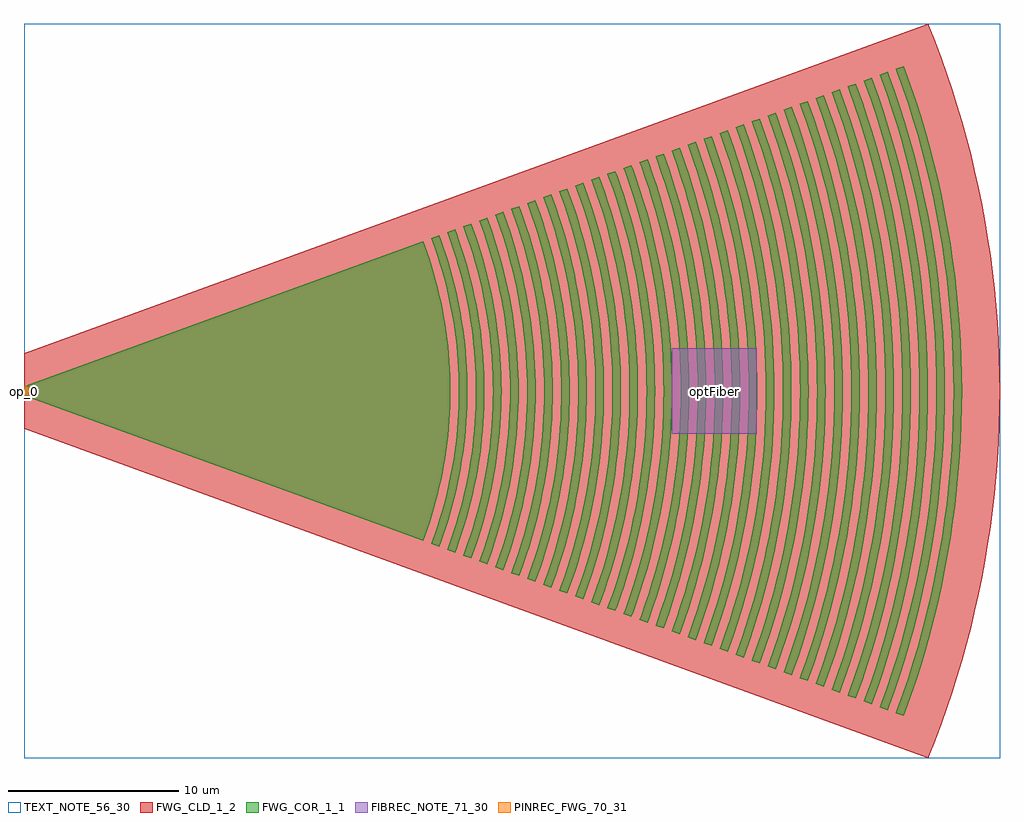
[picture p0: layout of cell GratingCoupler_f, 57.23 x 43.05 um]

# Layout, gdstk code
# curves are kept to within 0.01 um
import gdstk
lib = gdstk.Library(unit=1e-6, precision=1e-09)
def R(c, l, rs):  # rectangles x0, y0, x1, y1
    for r in rs: c.add(gdstk.rectangle(r[:2], r[2:], *l))
def P(c, l, *ps):  # polygons
    for p in ps: c.add(gdstk.Polygon(p, *l))
FWG_COR_1_1 = (1, 1)
FWG_CLD_1_2 = (1, 2)
TEXT_NOTE_56_30 = (56, 30)
PINREC_FWG_70_31 = (70, 31)
FIBREC_NOTE_71_30 = (71, 30)

gratingcoupler_f = lib.new_cell('GratingCoupler_f')
P(gratingcoupler_f, FWG_COR_1_1, [(23.492,68.551),(23.908,67.309),(24.148,66.47),(24.454,65.198),(24.62,64.341),(24.814,63.047),(24.905,62.179),(24.966,61.308),(25,60),(24.966,58.692),(24.905,57.821),(24.814,56.953),(24.62,55.659),(24.454,54.802),(24.148,53.53),(23.776,52.275),(23.402,51.207),(0,59.725),(0,60.275),(23.402,68.793)],
  [(24.432,68.893),(24.864,67.602),(25.114,66.729),(25.334,65.849),(25.605,64.515),(25.747,63.619),(25.901,62.266),(25.984,60.907),(26,60),(25.984,59.093),(25.901,57.734),(25.747,56.381),(25.605,55.485),(25.334,54.151),(25.114,53.271),(24.727,51.966),(24.342,50.865),(23.872,51.036),(24.252,52.12),(24.631,53.4),(24.943,54.698),(25.113,55.572),(25.31,56.892),(25.403,57.778),(25.465,58.665),(25.5,60),(25.465,61.335),(25.403,62.222),(25.31,63.108),(25.113,64.428),(24.943,65.302),(24.631,66.6),(24.252,67.88),(23.872,68.964),(24.342,69.135)],
  [(25.372,69.235),(25.679,68.343),(26.08,66.988),(26.308,66.074),(26.59,64.689),(26.799,63.29),(26.897,62.353),(26.984,60.942),(27,60),(26.984,59.058),(26.897,57.647),(26.799,56.71),(26.59,55.311),(26.308,53.926),(26.08,53.012),(25.679,51.657),(25.281,50.523),(24.811,50.694),(25.203,51.811),(25.597,53.141),(25.921,54.49),(26.097,55.398),(26.242,56.312),(26.399,57.69),(26.464,58.613),(26.5,60),(26.464,61.387),(26.399,62.31),(26.242,63.688),(26.097,64.602),(25.921,65.51),(25.597,66.859),(25.203,68.189),(24.811,69.306),(25.281,69.477)],
  [(26.311,69.577),(26.63,68.652),(27.046,67.247),(27.388,65.822),(27.575,64.862),(27.728,63.897),(27.893,62.44),(27.962,61.465),(28,60),(27.962,58.535),(27.893,57.56),(27.728,56.103),(27.575,55.138),(27.388,54.178),(27.046,52.753),(26.63,51.348),(26.221,50.181),(25.751,50.352),(26.154,51.502),(26.563,52.882),(26.899,54.282),(27.082,55.225),(27.295,56.649),(27.395,57.603),(27.483,59.04),(27.5,60),(27.483,60.96),(27.395,62.397),(27.295,63.351),(27.082,64.775),(26.899,65.718),(26.563,67.118),(26.154,68.498),(25.751,69.648),(26.221,69.819)],
  [(27.251,69.919),(27.581,68.961),(28.012,67.506),(28.257,66.524),(28.559,65.036),(28.718,64.036),(28.89,62.528),(28.96,61.518),(29,60),(28.96,58.482),(28.89,57.472),(28.718,55.964),(28.559,54.964),(28.257,53.476),(28.012,52.494),(27.581,51.039),(27.161,49.839),(26.691,50.01),(27.105,51.193),(27.529,52.624),(27.77,53.589),(28.067,55.051),(28.223,56.034),(28.392,57.516),(28.483,59.005),(28.5,60),(28.483,60.995),(28.392,62.484),(28.288,63.473),(28.067,64.949),(27.77,66.411),(27.529,67.376),(27.105,68.807),(26.691,69.99),(27.161,70.161)],
  [(28.191,70.261),(28.532,69.271),(28.978,67.765),(29.231,66.749),(29.544,65.209),(29.708,64.175),(29.886,62.615),(29.982,61.047),(30,60),(29.982,58.953),(29.886,57.385),(29.708,55.825),(29.544,54.791),(29.231,53.251),(28.978,52.235),(28.532,50.729),(28.1,49.497),(27.63,49.668),(28.056,50.884),(28.495,52.365),(28.744,53.364),(29.052,54.877),(29.213,55.894),(29.388,57.429),(29.46,58.456),(29.5,60),(29.46,61.544),(29.388,62.571),(29.213,64.106),(29.052,65.123),(28.744,66.636),(28.495,67.635),(28.056,69.116),(27.63,70.332),(28.1,70.503)],
  [(29.13,70.603),(29.483,69.58),(29.944,68.023),(30.323,66.445),(30.529,65.383),(30.769,63.778),(30.882,62.702),(30.958,61.622),(31,60),(30.958,58.378),(30.882,57.298),(30.769,56.222),(30.529,54.617),(30.323,53.555),(29.944,51.977),(29.483,50.42),(29.04,49.155),(28.57,49.326),(29.007,50.575),(29.461,52.106),(29.834,53.659),(30.037,54.704),(30.273,56.283),(30.384,57.342),(30.458,58.404),(30.5,60),(30.458,61.596),(30.384,62.658),(30.273,63.717),(30.037,65.296),(29.834,66.341),(29.461,67.894),(29.007,69.425),(28.57,70.674),(29.04,70.845)],
  [(30.07,70.945),(30.434,69.889),(30.91,68.282),(31.301,66.653),(31.514,65.557),(31.689,64.454),(31.825,63.345),(31.878,62.789),(31.981,61.117),(32,60),(31.981,58.883),(31.878,57.211),(31.825,56.655),(31.689,55.546),(31.514,54.443),(31.301,53.347),(30.91,51.718),(30.434,50.111),(29.98,48.813),(29.51,48.984),(29.958,50.266),(30.124,50.79),(30.427,51.847),(30.812,53.451),(31.021,54.53),(31.265,56.161),(31.38,57.255),(31.457,58.351),(31.5,60),(31.457,61.649),(31.38,62.745),(31.265,63.839),(31.021,65.47),(30.812,66.549),(30.427,68.153),(30.124,69.21),(29.958,69.734),(29.51,71.016),(29.98,71.187)],
  [(31.01,71.287),(31.385,70.198),(31.722,69.096),(31.876,68.541),(32.279,66.861),(32.499,65.73),(32.679,64.593),(32.754,64.022),(32.874,62.876),(32.955,61.727),(32.98,61.152),(33,60),(32.98,58.848),(32.955,58.273),(32.874,57.124),(32.754,55.978),(32.679,55.407),(32.499,54.27),(32.279,53.139),(31.876,51.459),(31.722,50.904),(31.385,49.802),(30.919,48.471),(30.45,48.642),(30.909,49.957),(31.08,50.498),(31.393,51.588),(31.79,53.243),(32.006,54.356),(32.1,54.916),(32.258,56.039),(32.376,57.167),(32.421,57.733),(32.48,58.866),(32.5,60),(32.48,61.134),(32.421,62.267),(32.376,62.833),(32.258,63.961),(32.184,64.523),(32.006,65.644),(31.79,66.757),(31.393,68.412),(31.08,69.502),(30.909,70.043),(30.45,71.358),(30.919,71.529)],
  [(31.95,71.629),(32.336,70.507),(32.683,69.372),(32.841,68.8),(33.129,67.648),(33.375,66.488),(33.483,65.904),(33.581,65.319),(33.747,64.144),(33.871,62.963),(33.917,62.372),(33.979,61.187),(34,60),(33.979,58.813),(33.917,57.628),(33.871,57.037),(33.747,55.856),(33.581,54.681),(33.483,54.096),(33.375,53.512),(33.129,52.352),(32.841,51.2),(32.683,50.628),(32.336,49.493),(31.859,48.129),(31.389,48.3),(31.86,49.648),(32.036,50.206),(32.359,51.33),(32.768,53.035),(32.991,54.183),(33.174,55.338),(33.373,57.08),(33.48,58.831),(33.5,60),(33.48,61.169),(33.373,62.92),(33.174,64.662),(32.991,65.817),(32.768,66.965),(32.359,68.67),(32.036,69.794),(31.86,70.352),(31.389,71.7),(31.859,71.871)],
  [(32.889,71.971),(33.287,70.816),(33.471,70.233),(33.807,69.059),(34.103,67.873),(34.357,66.678),(34.468,66.078),(34.569,65.475),(34.739,64.265),(34.867,63.05),(34.915,62.441),(34.979,61.221),(35,60),(34.979,58.779),(34.915,57.559),(34.867,56.95),(34.739,55.735),(34.569,54.525),(34.468,53.922),(34.357,53.322),(34.103,52.127),(33.807,50.941),(33.471,49.767),(33.287,49.184),(32.799,47.787),(32.329,47.958),(32.811,49.339),(32.993,49.913),(33.324,51.071),(33.616,52.239),(33.746,52.827),(33.976,54.009),(34.075,54.603),(34.243,55.796),(34.369,56.993),(34.453,58.194),(34.495,59.398),(34.5,60),(34.495,60.602),(34.453,61.806),(34.369,63.007),(34.243,64.204),(34.075,65.397),(33.976,65.991),(33.866,66.583),(33.616,67.761),(33.324,68.929),(32.993,70.087),(32.811,70.661),(32.329,72.042),(32.799,72.213)],
  [(33.829,72.313),(34.238,71.125),(34.427,70.525),(34.773,69.317),(34.931,68.709),(35.213,67.485),(35.453,66.251),(35.65,65.01),(35.732,64.387),(35.863,63.138),(35.951,61.884),(35.995,60.628),(36,60),(35.995,59.372),(35.951,58.116),(35.863,56.862),(35.803,56.237),(35.65,54.99),(35.453,53.749),(35.213,52.515),(34.931,51.291),(34.773,50.683),(34.427,49.475),(34.238,48.875),(33.738,47.445),(33.269,47.616),(33.763,49.03),(34.125,50.215),(34.29,50.812),(34.59,52.014),(34.848,53.226),(34.961,53.835),(35.155,55.059),(35.306,56.289),(35.365,56.906),(35.451,58.142),(35.495,59.38),(35.5,60),(35.495,60.62),(35.451,61.858),(35.365,63.094),(35.306,63.711),(35.155,64.941),(34.961,66.165),(34.848,66.774),(34.59,67.986),(34.29,69.188),(34.125,69.785),(33.763,70.97),(33.269,72.384),(33.738,72.555)],
  [(34.769,72.655),(35.189,71.434),(35.567,70.199),(35.739,69.576),(36.052,68.323),(36.32,67.06),(36.438,66.425),(36.64,65.149),(36.797,63.868),(36.859,63.225),(36.949,61.936),(36.994,60.646),(37,60),(36.994,59.354),(36.949,58.064),(36.859,56.775),(36.797,56.132),(36.64,54.851),(36.438,53.575),(36.32,52.94),(36.052,51.677),(35.739,50.424),(35.567,49.801),(35.189,48.566),(34.678,47.103),(34.208,47.274),(34.714,48.721),(35.086,49.939),(35.256,50.553),(35.565,51.789),(35.829,53.035),(35.945,53.662),(36.145,54.92),(36.228,55.552),(36.361,56.819),(36.411,57.454),(36.478,58.726),(36.5,60),(36.478,61.274),(36.411,62.546),(36.361,63.181),(36.3,63.815),(36.145,65.08),(35.945,66.338),(35.829,66.965),(35.565,68.211),(35.256,69.447),(35.086,70.061),(34.714,71.279),(34.208,72.726),(34.678,72.897)],
  [(35.708,72.997),(35.93,72.372),(36.34,71.11),(36.705,69.835),(36.871,69.193),(37.17,67.901),(37.423,66.599),(37.532,65.945),(37.717,64.631),(37.855,63.312),(37.948,61.989),(37.977,61.326),(38,60),(37.977,58.674),(37.948,58.011),(37.855,56.688),(37.717,55.369),(37.63,54.711),(37.423,53.401),(37.17,52.099),(36.871,50.807),(36.705,50.165),(36.34,48.89),(36.14,48.257),(35.618,46.761),(35.148,46.932),(35.665,48.412),(36.047,49.664),(36.222,50.294),(36.539,51.564),(36.681,52.203),(36.93,53.488),(37.135,54.781),(37.295,56.08),(37.357,56.732),(37.449,58.037),(37.477,58.691),(37.5,60),(37.477,61.309),(37.449,61.963),(37.357,63.268),(37.295,63.92),(37.135,65.219),(36.93,66.512),(36.681,67.797),(36.539,68.436),(36.222,69.706),(36.047,70.336),(35.665,71.588),(35.148,73.068),(35.618,73.239)],
  [(36.648,73.339),(37.091,72.052),(37.296,71.402),(37.671,70.094),(37.842,69.435),(38.148,68.109),(38.408,66.772),(38.52,66.101),(38.709,64.753),(38.852,63.399),(38.947,62.041),(38.994,60.681),(39,60),(38.994,59.319),(38.947,57.959),(38.852,56.601),(38.709,55.247),(38.52,53.899),(38.408,53.228),(38.148,51.891),(37.842,50.565),(37.671,49.906),(37.296,48.598),(37.091,47.948),(36.558,46.419),(36.088,46.59),(36.616,48.103),(37.009,49.388),(37.188,50.035),(37.513,51.339),(37.659,51.995),(37.915,53.315),(38.026,53.977),(38.213,55.308),(38.353,56.645),(38.406,57.314),(38.477,58.656),(38.5,60),(38.477,61.344),(38.406,62.686),(38.353,63.355),(38.213,64.692),(38.026,66.023),(37.915,66.685),(37.659,68.005),(37.513,68.661),(37.188,69.965),(37.009,70.612),(36.616,71.897),(36.088,73.41),(36.558,73.581)],
  [(37.588,73.681),(37.821,73.023),(38.252,71.695),(38.637,70.353),(38.975,68.998),(39.126,68.316),(39.392,66.946),(39.611,65.567),(39.702,64.875),(39.848,63.486),(39.903,62.79),(39.976,61.396),(40,60),(39.976,58.604),(39.903,57.21),(39.848,56.514),(39.702,55.125),(39.611,54.433),(39.392,53.054),(39.265,52.368),(38.975,51.002),(38.637,49.647),(38.252,48.305),(38.042,47.639),(37.497,46.077),(37.027,46.248),(37.567,47.794),(37.97,49.112),(38.154,49.777),(38.488,51.114),(38.637,51.787),(38.9,53.141),(39.014,53.821),(39.206,55.186),(39.35,56.557),(39.404,57.245),(39.476,58.621),(39.5,60),(39.476,61.379),(39.446,62.067),(39.35,63.443),(39.206,64.814),(39.014,66.179),(38.9,66.859),(38.637,68.213),(38.488,68.886),(38.154,70.223),(37.97,70.888),(37.567,72.206),(37.027,73.752),(37.497,73.923)],
  [(38.527,74.023),(38.993,72.67),(39.412,71.301),(39.603,70.612),(39.782,69.919),(40.104,68.524),(40.377,67.12),(40.601,65.706),(40.694,64.997),(40.844,63.573),(40.944,62.146),(40.994,60.716),(41,60),(40.994,59.284),(40.944,57.854),(40.844,56.427),(40.775,55.714),(40.601,54.294),(40.377,52.88),(40.104,51.476),(39.949,50.777),(39.603,49.388),(39.412,48.699),(38.993,47.33),(38.437,45.735),(37.967,45.906),(38.518,47.485),(38.931,48.837),(39.12,49.518),(39.462,50.889),(39.756,52.272),(39.885,52.967),(40.106,54.363),(40.198,55.064),(40.346,56.47),(40.444,57.88),(40.475,58.587),(40.5,60),(40.475,61.413),(40.444,62.12),(40.346,63.53),(40.198,64.936),(40.106,65.637),(39.885,67.033),(39.756,67.728),(39.462,69.111),(39.12,70.482),(38.931,71.163),(38.518,72.515),(37.967,74.094),(38.437,74.265)],
  [(39.467,74.365),(39.712,73.674),(40.165,72.28),(40.569,70.87),(40.924,69.448),(41.228,68.014),(41.362,67.293),(41.483,66.57),(41.687,65.119),(41.84,63.661),(41.898,62.93),(41.974,61.466),(42,60),(41.974,58.534),(41.898,57.07),(41.84,56.339),(41.687,54.881),(41.483,53.43),(41.362,52.707),(41.228,51.986),(40.924,50.552),(40.569,49.13),(40.165,47.72),(39.944,47.021),(39.377,45.393),(38.907,45.564),(39.469,47.176),(39.687,47.867),(40.086,49.259),(40.267,49.96),(40.593,51.372),(40.87,52.794),(40.989,53.508),(41.191,54.942),(41.342,56.383),(41.399,57.105),(41.475,58.552),(41.5,60),(41.475,61.448),(41.399,62.895),(41.342,63.617),(41.191,65.058),(41.096,65.776),(40.87,67.206),(40.593,68.628),(40.267,70.04),(40.086,70.741),(39.687,72.133),(39.469,72.824),(38.907,74.436),(39.377,74.607)],
  [(40.407,74.707),(40.895,73.288),(41.121,72.572),(41.535,71.129),(41.898,69.673),(42.21,68.205),(42.347,67.467),(42.582,65.984),(42.764,64.495),(42.836,63.748),(42.895,63),(42.974,61.501),(43,60),(42.974,58.499),(42.895,57),(42.836,56.252),(42.764,55.505),(42.582,54.016),(42.347,52.533),(42.21,51.795),(41.898,50.327),(41.535,48.871),(41.121,47.428),(40.895,46.712),(40.316,45.051),(39.846,45.222),(40.185,46.163),(40.42,46.867),(40.854,48.285),(41.052,49),(41.411,50.44),(41.719,51.891),(41.854,52.62),(41.977,53.352),(42.183,54.821),(42.338,56.296),(42.442,57.776),(42.494,59.258),(42.5,60),(42.494,60.742),(42.442,62.224),(42.338,63.704),(42.183,65.179),(41.977,66.648),(41.854,67.38),(41.719,68.109),(41.411,69.56),(41.052,71),(40.854,71.715),(40.42,73.133),(40.185,73.837),(39.846,74.778),(40.316,74.949)],
  [(41.346,75.049),(41.846,73.597),(42.296,72.128),(42.501,71.388),(42.872,69.898),(43.192,68.396),(43.332,67.641),(43.572,66.124),(43.672,65.362),(43.833,63.835),(43.94,62.303),(43.973,61.536),(44,60),(43.973,58.464),(43.94,57.697),(43.833,56.165),(43.759,55.401),(43.572,53.876),(43.332,52.359),(43.192,51.604),(42.872,50.102),(42.501,48.612),(42.296,47.872),(41.846,46.403),(41.256,44.709),(40.786,44.88),(41.371,46.558),(41.815,48.01),(42.018,48.741),(42.385,50.215),(42.701,51.7),(42.839,52.446),(43.077,53.946),(43.262,55.453),(43.334,56.209),(43.394,56.966),(43.474,58.482),(43.5,60),(43.474,61.518),(43.394,63.034),(43.334,63.791),(43.262,64.547),(43.077,66.054),(42.839,67.554),(42.701,68.3),(42.385,69.785),(42.018,71.259),(41.815,71.99),(41.371,73.442),(40.786,75.12),(41.256,75.291)],
  [(42.286,75.391),(42.798,73.906),(43.034,73.157),(43.467,71.647),(43.847,70.123),(44.017,69.356),(44.316,67.814),(44.446,67.04),(44.665,65.484),(44.829,63.922),(44.89,63.139),(44.973,61.57),(45,60),(44.973,58.43),(44.938,57.645),(44.829,56.078),(44.665,54.516),(44.446,52.96),(44.316,52.186),(44.017,50.644),(43.847,49.877),(43.467,48.353),(43.257,47.596),(42.798,46.094),(42.196,44.367),(41.726,44.538),(42.076,45.512),(42.322,46.249),(42.556,46.989),(42.984,48.483),(43.178,49.234),(43.528,50.748),(43.824,52.273),(44.067,53.807),(44.256,55.348),(44.331,56.122),(44.392,56.896),(44.473,58.447),(44.5,60),(44.473,61.553),(44.392,63.104),(44.331,63.878),(44.256,64.652),(44.067,66.193),(43.824,67.727),(43.528,69.252),(43.178,70.766),(42.984,71.517),(42.556,73.011),(42.322,73.751),(42.076,74.488),(41.726,75.462),(42.196,75.633)],
  [(43.226,75.733),(43.749,74.215),(43.99,73.449),(44.433,71.906),(44.634,71.128),(44.995,69.564),(45.301,67.988),(45.434,67.196),(45.657,65.606),(45.825,64.009),(45.937,62.407),(45.993,60.803),(46,60),(45.993,59.197),(45.937,57.593),(45.825,55.991),(45.657,54.394),(45.434,52.804),(45.301,52.012),(44.995,50.436),(44.634,48.872),(44.433,48.094),(43.99,46.551),(43.749,45.785),(43.135,44.025),(42.666,44.196),(43.021,45.187),(43.512,46.697),(43.95,48.224),(44.148,48.993),(44.334,49.765),(44.664,51.318),(44.94,52.882),(45.057,53.668),(45.251,55.244),(45.389,56.826),(45.472,58.412),(45.5,60),(45.493,60.794),(45.438,62.381),(45.327,63.966),(45.161,65.545),(44.94,67.118),(44.809,67.901),(44.506,69.46),(44.334,70.235),(43.95,71.776),(43.512,73.303),(43.273,74.06),(42.666,75.804),(43.135,75.975)],
  [(44.166,76.075),(44.7,74.524),(45.179,72.955),(45.399,72.164),(45.604,71.37),(45.973,69.772),(46.286,68.161),(46.543,66.541),(46.743,64.913),(46.821,64.096),(46.936,62.46),(46.993,60.82),(47,60),(46.993,59.18),(46.936,57.54),(46.821,55.904),(46.65,54.272),(46.543,53.459),(46.286,51.839),(45.973,50.228),(45.604,48.63),(45.399,47.836),(45.179,47.045),(44.7,45.476),(44.075,43.683),(43.605,43.854),(43.967,44.861),(44.224,45.631),(44.699,47.183),(44.916,47.965),(45.119,48.751),(45.484,50.332),(45.646,51.127),(45.928,52.726),(46.153,54.333),(46.245,55.139),(46.387,56.756),(46.472,58.377),(46.5,60),(46.472,61.623),(46.387,63.244),(46.323,64.053),(46.153,65.667),(45.928,67.274),(45.794,68.075),(45.484,69.668),(45.119,71.249),(44.916,72.035),(44.699,72.817),(44.224,74.369),(43.967,75.139),(43.605,76.146),(44.075,76.317)],
  [(45.105,76.417),(45.651,74.833),(45.903,74.034),(46.364,72.423),(46.77,70.798),(46.951,69.98),(47.271,68.335),(47.533,66.68),(47.737,65.017),(47.817,64.183),(47.883,63.348),(47.971,61.675),(48,60),(47.971,58.325),(47.883,56.652),(47.817,55.817),(47.737,54.983),(47.533,53.32),(47.271,51.665),(47.118,50.841),(46.77,49.202),(46.364,47.577),(46.141,46.769),(45.651,45.167),(45.015,43.341),(44.545,43.512),(44.912,44.536),(45.424,46.112),(45.66,46.907),(46.089,48.509),(46.283,49.315),(46.627,50.937),(46.915,52.569),(47.038,53.389),(47.24,55.035),(47.384,56.687),(47.471,58.342),(47.5,60),(47.493,60.829),(47.435,62.486),(47.319,64.14),(47.24,64.965),(47.038,66.611),(46.778,68.248),(46.462,69.876),(46.283,70.685),(45.881,72.294),(45.66,73.093),(45.175,74.678),(44.545,76.488),(45.015,76.659)],
  [(46.045,76.759),(46.602,75.142),(47.102,73.506),(47.33,72.682),(47.744,71.023),(48.1,69.35),(48.256,68.509),(48.397,67.665),(48.635,65.972),(48.814,64.271),(48.933,62.564),(48.993,60.855),(49,60),(48.993,59.145),(48.933,57.436),(48.814,55.729),(48.635,54.028),(48.397,52.335),(48.256,51.491),(48.1,50.65),(47.744,48.977),(47.33,47.318),(47.102,46.494),(46.602,44.858),(46.33,44.047),(45.954,42.999),(45.485,43.17),(45.858,44.21),(46.126,45.013),(46.381,45.82),(46.847,47.447),(47.257,49.09),(47.44,49.916),(47.609,50.746),(47.903,52.413),(48.028,53.25),(48.234,54.93),(48.382,56.617),(48.47,58.307),(48.5,60),(48.493,60.846),(48.434,62.538),(48.315,64.227),(48.234,65.07),(48.028,66.75),(47.763,68.422),(47.609,69.254),(47.257,70.91),(46.847,72.553),(46.381,74.18),(46.126,74.987),(45.858,75.79),(45.485,76.83),(45.954,77.001)],
  [(46.985,77.101),(47.553,75.451),(48.063,73.782),(48.296,72.941),(48.719,71.248),(49.081,69.54),(49.24,68.682),(49.513,66.959),(49.627,66.093),(49.81,64.358),(49.878,63.488),(49.97,61.745),(50,60),(49.97,58.255),(49.878,56.512),(49.81,55.642),(49.726,54.774),(49.513,53.041),(49.24,51.318),(49.081,50.46),(48.719,48.752),(48.296,47.059),(48.063,46.218),(47.553,44.549),(47.276,43.722),(46.894,42.657),(46.424,42.828),(46.803,43.884),(47.077,44.704),(47.337,45.528),(47.813,47.188),(48.03,48.025),(48.418,49.708),(48.591,50.555),(48.891,52.256),(49.131,53.967),(49.312,55.686),(49.432,57.409),(49.47,58.272),(49.5,60),(49.47,61.728),(49.432,62.591),(49.312,64.314),(49.131,66.033),(48.891,67.744),(48.748,68.596),(48.418,70.292),(48.03,71.975),(47.813,72.812),(47.337,74.472),(47.077,75.296),(46.803,76.116),(46.424,77.172),(46.894,77.343)],
  [(47.924,77.443),(48.504,75.76),(48.772,74.911),(49.262,73.2),(49.693,71.473),(49.886,70.603),(50.225,68.856),(50.504,67.098),(50.721,65.331),(50.806,64.445),(50.876,63.558),(50.969,61.78),(51,60),(50.969,58.22),(50.876,56.442),(50.806,55.555),(50.721,54.669),(50.504,52.902),(50.225,51.144),(49.886,49.397),(49.693,48.527),(49.262,46.8),(48.772,45.089),(48.504,44.24),(48.221,43.396),(47.834,42.315),(47.364,42.486),(47.749,43.559),(48.028,44.395),(48.544,46.08),(48.779,46.93),(49.206,48.64),(49.396,49.5),(49.733,51.231),(49.878,52.1),(50.124,53.846),(50.308,55.599),(50.431,57.357),(50.469,58.238),(50.5,60),(50.492,60.881),(50.431,62.643),(50.308,64.401),(50.124,66.154),(50.009,67.028),(49.733,68.769),(49.572,69.636),(49.206,71.36),(48.779,73.07),(48.544,73.92),(48.028,75.605),(47.749,76.441),(47.364,77.514),(47.834,77.685)],
  [(48.864,77.785),(49.455,76.069),(49.986,74.333),(50.228,73.459),(50.455,72.58),(50.864,70.811),(51.21,69.03),(51.494,67.237),(51.715,65.435),(51.802,64.532),(51.929,62.721),(51.992,60.908),(52,60),(51.992,59.092),(51.929,57.279),(51.802,55.468),(51.715,54.565),(51.494,52.763),(51.21,50.97),(50.864,49.189),(50.455,47.42),(50.228,46.541),(49.986,45.667),(49.455,43.931),(49.167,43.07),(48.774,41.973),(48.304,42.144),(48.694,43.233),(48.979,44.086),(49.25,44.943),(49.745,46.671),(49.97,47.541),(50.375,49.293),(50.718,51.057),(50.866,51.944),(50.999,52.833),(51.218,54.617),(51.375,56.408),(51.469,58.203),(51.5,60),(51.469,61.797),(51.375,63.592),(51.218,65.383),(50.999,67.167),(50.718,68.943),(50.554,69.827),(50.375,70.707),(49.97,72.459),(49.745,73.329),(49.25,75.057),(48.694,76.767),(48.304,77.856),(48.774,78.027)],
  [(49.804,78.127),(50.406,76.378),(50.947,74.609),(51.194,73.717),(51.642,71.922),(51.842,71.019),(52.195,69.203),(52.484,67.376),(52.605,66.459),(52.798,64.619),(52.871,63.697),(52.968,61.85),(53,60),(52.968,58.15),(52.871,56.303),(52.798,55.381),(52.605,53.541),(52.484,52.624),(52.195,50.797),(51.842,48.981),(51.642,48.078),(51.194,46.283),(50.947,45.391),(50.406,43.622),(50.112,42.745),(49.713,41.631),(49.243,41.802),(49.64,42.908),(49.93,43.777),(50.206,44.65),(50.711,46.412),(50.941,47.299),(51.353,49.085),(51.702,50.883),(51.854,51.787),(52.109,53.602),(52.3,55.424),(52.372,56.338),(52.468,58.168),(52.5,60),(52.468,61.832),(52.372,63.662),(52.212,65.488),(51.989,67.307),(51.854,68.213),(51.535,70.017),(51.353,70.915),(50.941,72.701),(50.711,73.588),(50.206,75.35),(49.64,77.092),(49.243,78.198),(49.713,78.369)],
  [(50.743,78.469),(51.357,76.687),(51.908,74.884),(52.16,73.976),(52.616,72.147),(53.008,70.304),(53.18,69.377),(53.335,68.447),(53.597,66.581),(53.795,64.706),(53.926,62.826),(53.967,61.885),(54,60),(53.967,58.115),(53.926,57.174),(53.795,55.294),(53.597,53.419),(53.474,52.485),(53.18,50.623),(53.008,49.696),(52.616,47.853),(52.16,46.024),(51.908,45.116),(51.357,43.313),(51.058,42.419),(50.653,41.289),(50.183,41.46),(50.585,42.582),(50.882,43.468),(51.428,45.253),(51.677,46.153),(51.911,47.057),(52.331,48.877),(52.517,49.792),(52.841,51.631),(52.979,52.554),(53.207,54.408),(53.37,56.268),(53.467,58.133),(53.5,60),(53.467,61.867),(53.37,63.732),(53.207,65.592),(52.979,67.446),(52.687,69.29),(52.517,70.208),(52.129,72.035),(51.911,72.943),(51.428,74.747),(51.162,75.642),(50.585,77.418),(50.183,78.54),(50.653,78.711)],
  [(51.683,78.811),(52.004,77.906),(52.597,76.08),(53.126,74.235),(53.366,73.306),(53.798,71.435),(54.164,69.551),(54.465,67.655),(54.699,65.749),(54.791,64.794),(54.925,62.878),(54.992,60.96),(55,60),(54.992,59.04),(54.925,57.122),(54.791,55.206),(54.699,54.251),(54.465,52.345),(54.164,50.449),(53.798,48.565),(53.366,46.694),(53.126,45.765),(52.597,43.92),(52.308,43.004),(52.004,42.094),(51.593,40.947),(51.123,41.118),(51.531,42.257),(51.833,43.159),(52.119,44.066),(52.643,45.894),(52.881,46.815),(53.309,48.669),(53.499,49.601),(53.829,51.474),(54.094,53.358),(54.293,55.25),(54.367,56.198),(54.467,58.098),(54.5,60),(54.467,61.902),(54.367,63.802),(54.201,65.697),(53.97,67.585),(53.829,68.526),(53.499,70.399),(53.103,72.26),(52.881,73.185),(52.643,74.106),(52.119,75.934),(51.531,77.743),(51.123,78.882),(51.593,79.053)])
P(gratingcoupler_f, FWG_CLD_1_2, [(57.216,59.001),(57.147,57.005),(57.086,56.008),(56.912,54.018),(56.668,52.036),(56.52,51.048),(56.356,50.063),(55.974,48.102),(55.525,46.156),(55.275,45.189),(54.725,43.269),(54.107,41.369),(53.774,40.428),(53.022,38.476),(0,57.775),(0,62.225),(53.022,81.524),(53.774,79.572),(54.107,78.631),(54.725,76.731),(55.275,74.811),(55.525,73.844),(55.758,72.873),(56.174,70.919),(56.356,69.937),(56.668,67.964),(56.912,65.982),(57.007,64.987),(57.086,63.992),(57.19,61.997),(57.225,60)])
R(gratingcoupler_f, TEXT_NOTE_56_30, [(0,38.476,57.225,81.524)])
P(gratingcoupler_f, TEXT_NOTE_56_30, [(0.2,41.259),(0.2,45.908),(3.816,45.908),(3.816,45.392),(0.717,45.392),(0.717,41.776),(3.816,41.776),(3.816,41.259)])
R(gratingcoupler_f, PINREC_FWG_70_31, [(0,59.725,0.3,60.275)])
R(gratingcoupler_f, FIBREC_NOTE_71_30, [(37.967,57.5,42.967,62.5)])
gratingcoupler_f.add(gdstk.Label('optFiber', (40.467,60), layer=71, texttype=30))
gratingcoupler_f.add(gdstk.Label('op_0', (0,60), layer=70, texttype=41))

lib.write_gds('GratingCoupler_f.gds')
